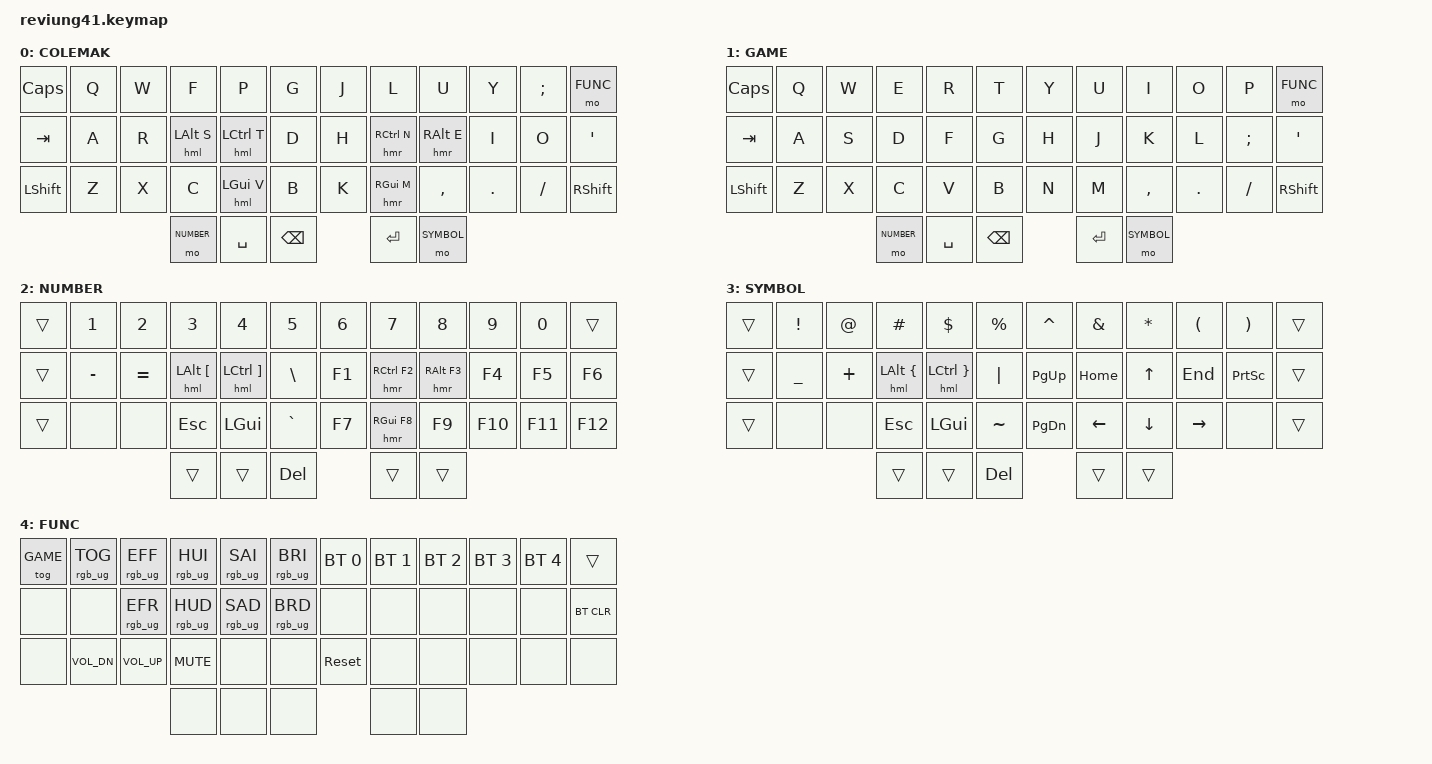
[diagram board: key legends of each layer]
/*
 * Copyright (c) 2020 The ZMK Contributors
 *
 * SPDX-License-Identifier: MIT
 */

#include <behaviors.dtsi>
#include <dt-bindings/zmk/bt.h>
#include <dt-bindings/zmk/keys.h>
#include <dt-bindings/zmk/rgb.h>

// Layer order matters: a higher layer wins. GAME sits below NUMBER/SYMBOL
// so the NUMBER/SYMBOL thumb keys still work while GAME is toggled on.
#define DEFAULT 0
#define GAME    1
#define NUMBER  2
#define SYMBOL  3
#define FUNC    4

/*
 * Key positions (41 keys)
 *
 *  0  1  2  3  4  5      6  7  8  9 10 11
 * 12 13 14 15 16 17     18 19 20 21 22 23
 * 24 25 26 27 28 29     30 31 32 33 34 35
 *          36 37    38    39 40
 */
#define KEYS_L 0 1 2 3 4 5 12 13 14 15 16 17 24 25 26 27 28 29
#define KEYS_R 6 7 8 9 10 11 18 19 20 21 22 23 30 31 32 33 34 35
#define THUMBS 36 37 38 39 40

/*
 * Home-row mods, "positional" style:
 *  - A mod key only turns into a hold when the NEXT key is on the OTHER hand
 *    (or a thumb). Pressing a key on the same hand while rolling = always a tap.
 *  - balanced: if another key is pressed AND released inside tapping-term -> hold.
 *  - require-prior-idle: if you were typing within the last 150 ms -> always a tap.
 *  - Same-hand combos (e.g. Ctrl(T)+C) still work: hold the mod past tapping-term first.
 */
#define HRM_COMMON                     \
    flavor = "balanced";               \
    tapping-term-ms = <200>;           \
    quick-tap-ms = <175>;              \
    require-prior-idle-ms = <150>;     \
    hold-trigger-on-release;           \
    #binding-cells = <2>;              \
    bindings = <&kp>, <&kp>;

/ {
    behaviors {
        // left-hand mods: hold triggers only with right-hand keys or thumbs
        hml: home_row_mod_left {
            compatible = "zmk,behavior-hold-tap";
            HRM_COMMON
            hold-trigger-key-positions = <KEYS_R THUMBS>;
        };

        // right-hand mods: hold triggers only with left-hand keys or thumbs
        hmr: home_row_mod_right {
            compatible = "zmk,behavior-hold-tap";
            HRM_COMMON
            hold-trigger-key-positions = <KEYS_L THUMBS>;
        };
    };

    keymap {
        compatible = "zmk,keymap";

        default_layer {
            // ---------------------------------------------------------------------------------------
            // | CAPS |  Q  |  W  |  F  |  P  |  G  |   |  J  |  L  |  U  |  Y  |  ;  | FUNC(hold) |
            // | TAB  |  A  |  R  |S/ALT|T/CTL|  D  |   |  H  |N/CTL|E/ALT|  I  |  O  |     '      |
            // | SHFT |  Z  |  X  |  C  |V/GUI|  B  |   |  K  |M/GUI|  ,  |  .  |  /  |    SHFT    |
            //                   | NUM | SPC |    BKSP    | RET | SYM |

            bindings = <
&kp CAPS   &kp Q  &kp W  &kp F        &kp P         &kp G                 &kp J  &kp L         &kp U        &kp Y    &kp SEMICOLON  &mo FUNC
&kp TAB    &kp A  &kp R  &hml LALT S  &hml LCTRL T  &kp D                 &kp H  &hmr RCTRL N  &hmr RALT E  &kp I    &kp O          &kp SQT
&kp LSHFT  &kp Z  &kp X  &kp C        &hml LGUI V   &kp B                 &kp K  &hmr RGUI M   &kp COMMA    &kp DOT  &kp FSLH       &kp RSHFT
                         &mo NUMBER   &kp SPACE            &kp BACKSPACE         &kp RET       &mo SYMBOL
            >;

            display-name = "COLEMAK";
        };

        game_layer {
            // ---------------------------------------------------------------------------------------
            // | CAPS |  Q  |  W  |  E  |  R  |  T  |   |  Y  |  U  |  I  |  O  |  P  | FUNC(hold) |
            // | TAB  |  A  |  S  |  D  |  F  |  G  |   |  H  |  J  |  K  |  L  |  ;  |     '      |
            // | SHFT |  Z  |  X  |  C  |  V  |  B  |   |  N  |  M  |  ,  |  .  |  /  |    SHFT    |
            //                   | NUM | SPC |    BKSP    | RET | SYM |
            // Leave GAME the same way you enter it: hold FUNC (top-right) + top-left. No home-row mods here.
            // ESC is on NUMBER/SYMBOL (C position), so top-right opens FUNC like DEFAULT.

            bindings = <
&kp CAPS   &kp Q  &kp W  &kp E        &kp R         &kp T                 &kp Y  &kp U         &kp I        &kp O    &kp P          &mo FUNC
&kp TAB    &kp A  &kp S  &kp D        &kp F         &kp G                 &kp H  &kp J         &kp K        &kp L    &kp SEMICOLON  &kp SQT
&kp LSHFT  &kp Z  &kp X  &kp C        &kp V         &kp B                 &kp N  &kp M         &kp COMMA    &kp DOT  &kp FSLH       &kp RSHFT
                         &mo NUMBER   &kp SPACE            &kp BACKSPACE         &kp RET       &mo SYMBOL
            >;

            display-name = "GAME";
        };

        number_layer {
            // ---------------------------------------------------------------------------------------
            // |      |  1  |  2  |  3  |  4  |  5  |   |  6  |  7  |  8  |  9  |  0  |            |
            // |      |  -  |  =  |[/ALT|]/CTL|  \  |   | F1  |F2/CT|F3/AL| F4  | F5  |     F6     |
            // |      |     |     | ESC | GUI |  `  |   | F7  |F8/GU| F9  | F10 | F11 |    F12     |
            //                   | ___ |     |    DEL     |     |     |

            bindings = <
&trans  &kp N1     &kp N2     &kp N3          &kp N4           &kp N5       &kp N6   &kp N7         &kp N8        &kp N9   &kp N0   &trans
&trans  &kp MINUS  &kp EQUAL  &hml LALT LBKT  &hml LCTRL RBKT  &kp BSLH     &kp F1   &hmr RCTRL F2  &hmr RALT F3  &kp F4   &kp F5   &kp F6
&trans  &none      &none      &kp ESC         &kp LGUI         &kp GRAVE    &kp F7   &hmr RGUI F8   &kp F9        &kp F10  &kp F11  &kp F12
                              &trans          &trans                  &kp DEL                &trans         &trans
            >;

            display-name = "NUMBER";
        };

        symbol_layer {
            // ---------------------------------------------------------------------------------------
            // |      |  !  |  @  |  #  |  $  |  %  |   |  ^  |  &  |  *  |  (  |  )  |            |
            // |      |  _  |  +  |{/ALT|}/CTL|  |  |   |PGUP |HOME | UP  | END |PRSC |            |
            // |      |     |     | ESC | GUI |  ~  |   |PGDN |LEFT |DOWN |RGHT |     |            |
            //                   |     |     |    DEL     |     | ___ |

            bindings = <
&trans  &kp EXCL   &kp AT    &kp HASH  &kp DLLR  &kp PRCNT    &kp CARET  &kp AMPS  &kp ASTRK  &kp LPAR   &kp RPAR   &trans
&trans  &kp UNDER  &kp PLUS  &hml LALT LBRC  &hml LCTRL RBRC  &kp PIPE     &kp PG_UP  &kp HOME  &kp UP     &kp END    &kp PSCRN  &trans
&trans  &none      &none     &kp ESC   &kp LGUI  &kp TILDE    &kp PG_DN  &kp LEFT  &kp DOWN   &kp RIGHT  &none      &trans
                             &trans    &trans           &kp DEL          &trans    &trans
            >;

            display-name = "SYMBOL";
        };

        func_layer {
            // -------------------------------------------------------------------------------------------
            // | GAME | RGB TOG | EFF+ | HUE+ | SAT+ | BRI+ |   | BT1 | BT2 | BT3 | BT4 | BT5 |   ___    |
            // |      |         | EFF- | HUE- | SAT- | BRI- |   |     |     |     |     |     |  BT CLR  |
            // |      |  VOL-   | VOL+ | MUTE |      |      |   |RESET|     |     |     |     |          |
            //                         |      |      |       |      |      |

            bindings = <
&tog GAME  &rgb_ug RGB_TOG  &rgb_ug RGB_EFF  &rgb_ug RGB_HUI  &rgb_ug RGB_SAI  &rgb_ug RGB_BRI    &bt BT_SEL 0  &bt BT_SEL 1  &bt BT_SEL 2  &bt BT_SEL 3  &bt BT_SEL 4  &trans
&none      &none            &rgb_ug RGB_EFR  &rgb_ug RGB_HUD  &rgb_ug RGB_SAD  &rgb_ug RGB_BRD    &none         &none         &none         &none         &none         &bt BT_CLR
&none      &kp C_VOL_DN     &kp C_VOL_UP     &kp C_MUTE       &none            &none              &sys_reset    &none         &none         &none         &none         &none
                                             &none            &none                    &none                    &none         &none
            >;

            display-name = "FUNC";
        };
    };
};
